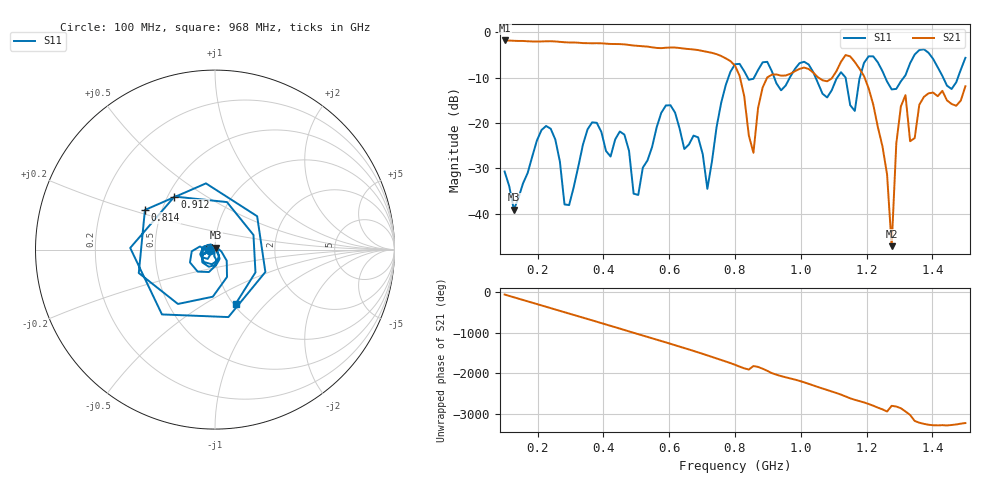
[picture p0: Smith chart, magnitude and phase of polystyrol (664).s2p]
! NanoVNA-App
! Date: 2025-09-25 15:35:03
! Start: 100MHz Stop: 1,5GHz Points: 101
! S-Parameter data: F S11 S21 S12 S22
# Hz S RI R 50
!  Frequency  S11_Real  S11_Imag  S21_Real  S21_Imag  S12_Real  S12_Imag  S22_Real  S22_Imag
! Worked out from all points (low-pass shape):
!   101 points, 100 MHz to 1.5 GHz, reference 50 ohm
!   highest |S21| = -1.80 dB at 100 MHz (marker M1); lowest = -47.2 dB at 1.276 GHz (marker M2)
!   |S21| within 3 dB of the highest: start of sweep to 743 MHz
!   lowest |S11| = -39.1 dB at 128 MHz (marker M3), VSWR 1.02, Z = 50.3 + j1.06 ohm
!   |S11| at or under -10 dB: start of sweep to 779.8 MHz; 1.045 GHz to 1.111 GHz (65.7 MHz wide, 6.1 % of centre); 1.257 GHz to 1.313 GHz (55.78 MHz wide, 4.34 % of centre) (the widest 3 of 7)
!   S12 and S22 are empty: the file has one direction only
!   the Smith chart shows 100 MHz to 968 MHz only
!   S11 on the Smith chart (normalised r, x): 100 MHz: 0.94, -0.01; 814 MHz: 0.40, +0.22; 912 MHz: 0.54, +0.37; 968 MHz: 1.02, -0.69
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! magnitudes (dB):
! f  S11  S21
! 100 MHz  -30.7  -1.8
! 128 MHz  -39.1  -1.9
! 212 MHz  -21.6  -2.0
! 282 MHz  -38.0  -2.2
! 338 MHz  -24.8  -2.4
! 464 MHz  -22.6  -2.7
! 506 MHz  -35.9  -3.0
! 576 MHz  -17.8  -3.5
! 716 MHz  -34.5  -4.3
! 800 MHz  -7.0  -7.4
! 814 MHz  -7.0  -9.6
! 856 MHz  -10.3  -26.6
! 912 MHz  -8.6  -9.4
! 968 MHz  -9.8  -9.2
! 1.038 GHz  -8.8  -8.9
! 1.164 GHz  -17.3  -6.6
! 1.192 GHz  -6.7  -9.7
! 1.276 GHz  -12.6  -47.2
! 1.29 GHz  -12.5  -24.6
! 1.318 GHz  -9.5  -13.9
! 1.332 GHz  -6.8  -24.0
! 1.5 GHz  -5.6  -11.9
